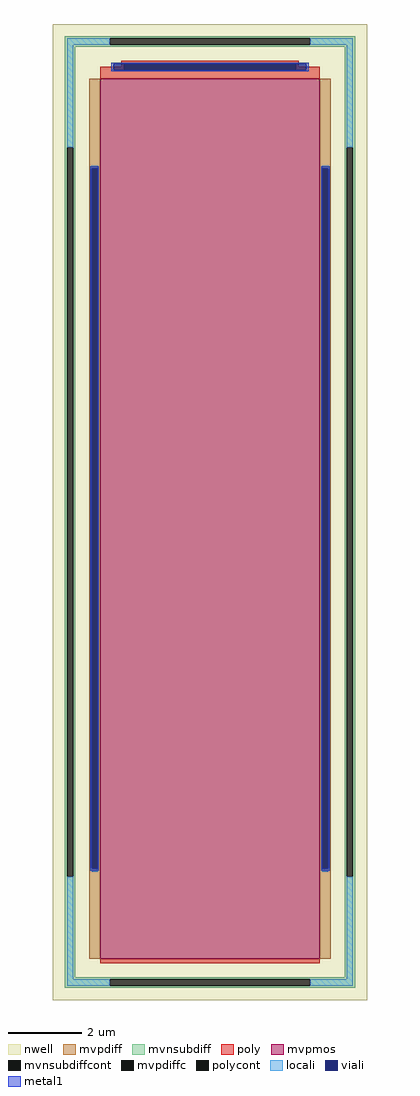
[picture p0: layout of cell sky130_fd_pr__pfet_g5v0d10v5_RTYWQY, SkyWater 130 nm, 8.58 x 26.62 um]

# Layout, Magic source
magic
tech sky130B
magscale 1 2
<< nwell >>
rect -858 -2662 858 2662
<< mvpmos >>
rect -600 -2436 600 2364
<< mvpdiff >>
rect -658 1874 -600 2364
rect -658 -1946 -646 1874
rect -612 -1946 -600 1874
rect -658 -2436 -600 -1946
rect 600 1874 658 2364
rect 600 -1946 612 1874
rect 646 -1946 658 1874
rect 600 -2436 658 -1946
<< mvpdiffc >>
rect -646 -1946 -612 1874
rect 612 -1946 646 1874
<< mvnsubdiff >>
rect -792 2584 792 2596
rect -792 2550 -547 2584
rect 547 2550 792 2584
rect -792 2538 792 2550
rect -792 1990 -734 2538
rect -792 -1990 -780 1990
rect -746 -1990 -734 1990
rect -792 -2538 -734 -1990
rect 734 1990 792 2538
rect 734 -1990 746 1990
rect 780 -1990 792 1990
rect 734 -2538 792 -1990
rect -792 -2550 792 -2538
rect -792 -2584 -547 -2550
rect 547 -2584 792 -2550
rect -792 -2596 792 -2584
<< mvnsubdiffcont >>
rect -547 2550 547 2584
rect -780 -1990 -746 1990
rect 746 -1990 780 1990
rect -547 -2584 547 -2550
<< poly >>
rect -483 2445 483 2461
rect -483 2428 -467 2445
rect -600 2411 -467 2428
rect 467 2428 483 2445
rect 467 2411 600 2428
rect -600 2364 600 2411
rect -600 -2462 600 -2436
<< polycont >>
rect -467 2411 467 2445
<< locali >>
rect -780 2550 -547 2584
rect 547 2550 780 2584
rect -780 1990 -746 2550
rect 746 1990 780 2550
rect -646 1874 -612 1890
rect -646 -1962 -612 -1946
rect 612 1874 646 1890
rect 612 -1962 646 -1946
rect -780 -2550 -746 -1990
rect 746 -2550 780 -1990
rect -780 -2584 -547 -2550
rect 547 -2584 780 -2550
<< viali >>
rect -526 2411 -467 2445
rect -467 2411 467 2445
rect 467 2411 526 2445
rect -646 -1946 -612 1874
rect 612 -1946 646 1874
<< metal1 >>
rect -538 2445 538 2451
rect -538 2411 -526 2445
rect 526 2411 538 2445
rect -538 2405 538 2411
rect -652 1874 -606 1886
rect -652 -1946 -646 1874
rect -612 -1946 -606 1874
rect -652 -1958 -606 -1946
rect 606 1874 652 1886
rect 606 -1946 612 1874
rect 646 -1946 652 1874
rect 606 -1958 652 -1946
<< properties >>
string FIXED_BBOX -763 -2567 763 2567
string gencell sky130_fd_pr__pfet_g5v0d10v5
string library sky130
string parameters w 24.0 l 6.0 m 1 nf 1 diffcov 80 polycov 80 guard 1 glc 1 grc 1 gtc 1 gbc 1 tbcov 80 rlcov 80 topc 1 botc 0 poverlap 0 doverlap 1 lmin 0.50 wmin 0.42 compatible {sky130_fd_pr__pfet_01v8  sky130_fd_pr__pfet_01v8_lvt sky130_fd_pr__pfet_01v8_hvt  sky130_fd_pr__pfet_g5v0d10v5} full_metal 1 viasrc 80 viadrn 80 viagate 90 viagb 0 viagr 0 viagl 0 viagt 0
<< end >>
